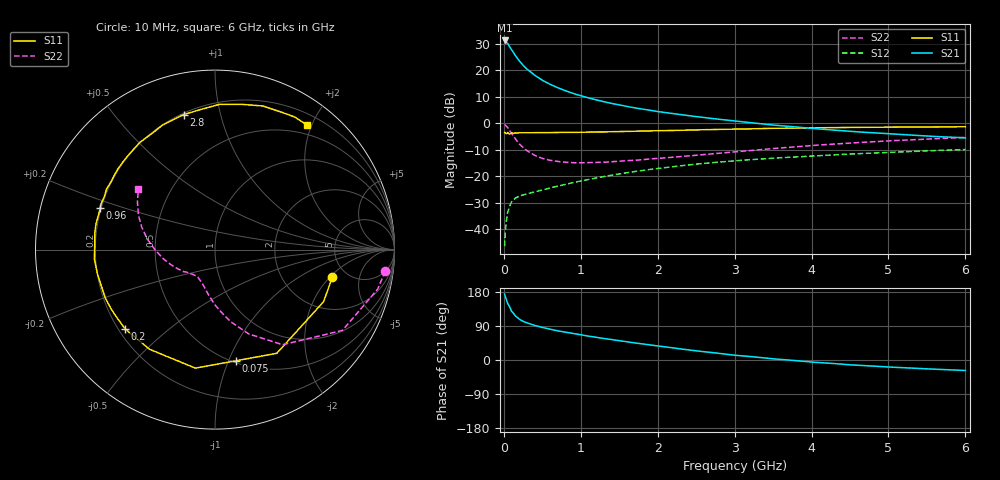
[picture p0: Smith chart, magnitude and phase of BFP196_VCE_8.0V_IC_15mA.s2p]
! Infineon Technologies  Discrete & RF Semiconductors
! BFP196
! VCE = 8.0 V,  IC =  15mA
! Common Emitter S-Parameters:  Jan 2016
# GHz  S  MA  R  50
!  f  S11  S21  S12  S22
! GHz  MAG  ANG  MAG  ANG  MAG  ANG  MAG  ANG
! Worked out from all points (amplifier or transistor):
!   210 points, 10 MHz to 6 GHz, reference 50 ohm
!   highest |S21| = 31.3 dB at 10 MHz (marker M1)
!   |S21| within 3 dB of that: start of sweep to 89.19 MHz
!   unconditionally stable (mu >= 1): 808.4 MHz to 3.478 GHz; 3.553 GHz to 3.926 GHz
!   at 185 MHz: K = 0.38, MSG = 26.0 dB, |S12| = -27.7 dB
!   at 1.52 GHz: K = 1.11, MAG = 10.9 dB, |S12| = -19.0 dB
!   at 6 GHz: K = 0.96, MSG = 2.2 dB, |S12| = -9.9 dB
!   S11 on the Smith chart (normalised r, x): 10 MHz: 3.85, -2.14; 75 MHz: 0.52, -1.06; 200 MHz: 0.23, -0.36; 960 MHz: 0.20, +0.17; 2.8 GHz: 0.21, +0.77; 6 GHz: 0.36, +1.94
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0.01  0.6719 -13.1  36.91 173.8  0.0048 84.5  0.9563 -7.2
0.02  0.671 -25.6  35.88 166.4  0.0094 76.2  0.9324 -13.7
0.05  0.6726 -59.2  32.32 149.4  0.0212 65.5  0.8406 -32.4
0.075  0.6301 -79.3  28.13 140.5  0.0269 55.6  0.7317 -42.1
0.1  0.6694 -99.4  24.84 128.9  0.0331 49.2  0.6503 -54.6
0.15  0.6644 -123.3  19.04 116.0  0.0389 41.8  0.506 -68.2
0.2  0.6679 -138.6  15.26 107.8  0.0423 39.3  0.4124 -77.6
0.26  0.6667 -150.7  12.12 101.1  0.045 37.9  0.3388 -85.7
0.3  0.6679 -156.5  10.62 97.6  0.0467 38.0  0.3063 -90.3
0.4  0.6688 -168.1  8.143 91.1  0.051 38.9  0.2498 -99.0
0.5  0.6739 -175.5  6.54 85.9  0.0552 40.8  0.2185 -105.4
0.6  0.6704 177.6  5.486 81.2  0.0603 43.1  0.2013 -110.6
0.7  0.6765 172.0  4.731 76.8  0.0652 44.6  0.1911 -115.2
0.96  0.6807 160.1  3.47 67.8  0.0795 47.1  0.1805 -123.6
1.02  0.6836 157.5  3.268 65.8  0.0828 47.4  0.1806 -125.1
1.4  0.6976 143.5  2.385 54.0  0.105 47.7  0.1889 -133.9
2.02  0.7298 124.2  1.661 36.6  0.1422 44.2  0.2188 -147.8
2.8  0.7723 103.0  1.197 17.5  0.1861 36.7  0.2738 -165.2
3.1  0.7835 96.3  1.072 11.0  0.2018 33.2  0.2989 -171.8
4.1  0.8263 77.7  0.785 -6.7  0.2464 22.2  0.3912 169.2
5.1  0.8512 63.8  0.625 -19.4  0.2876 11.4  0.4755 154.1
6  0.8634 53.4  0.534 -27.7  0.3216 1.3  0.5436 141.7
